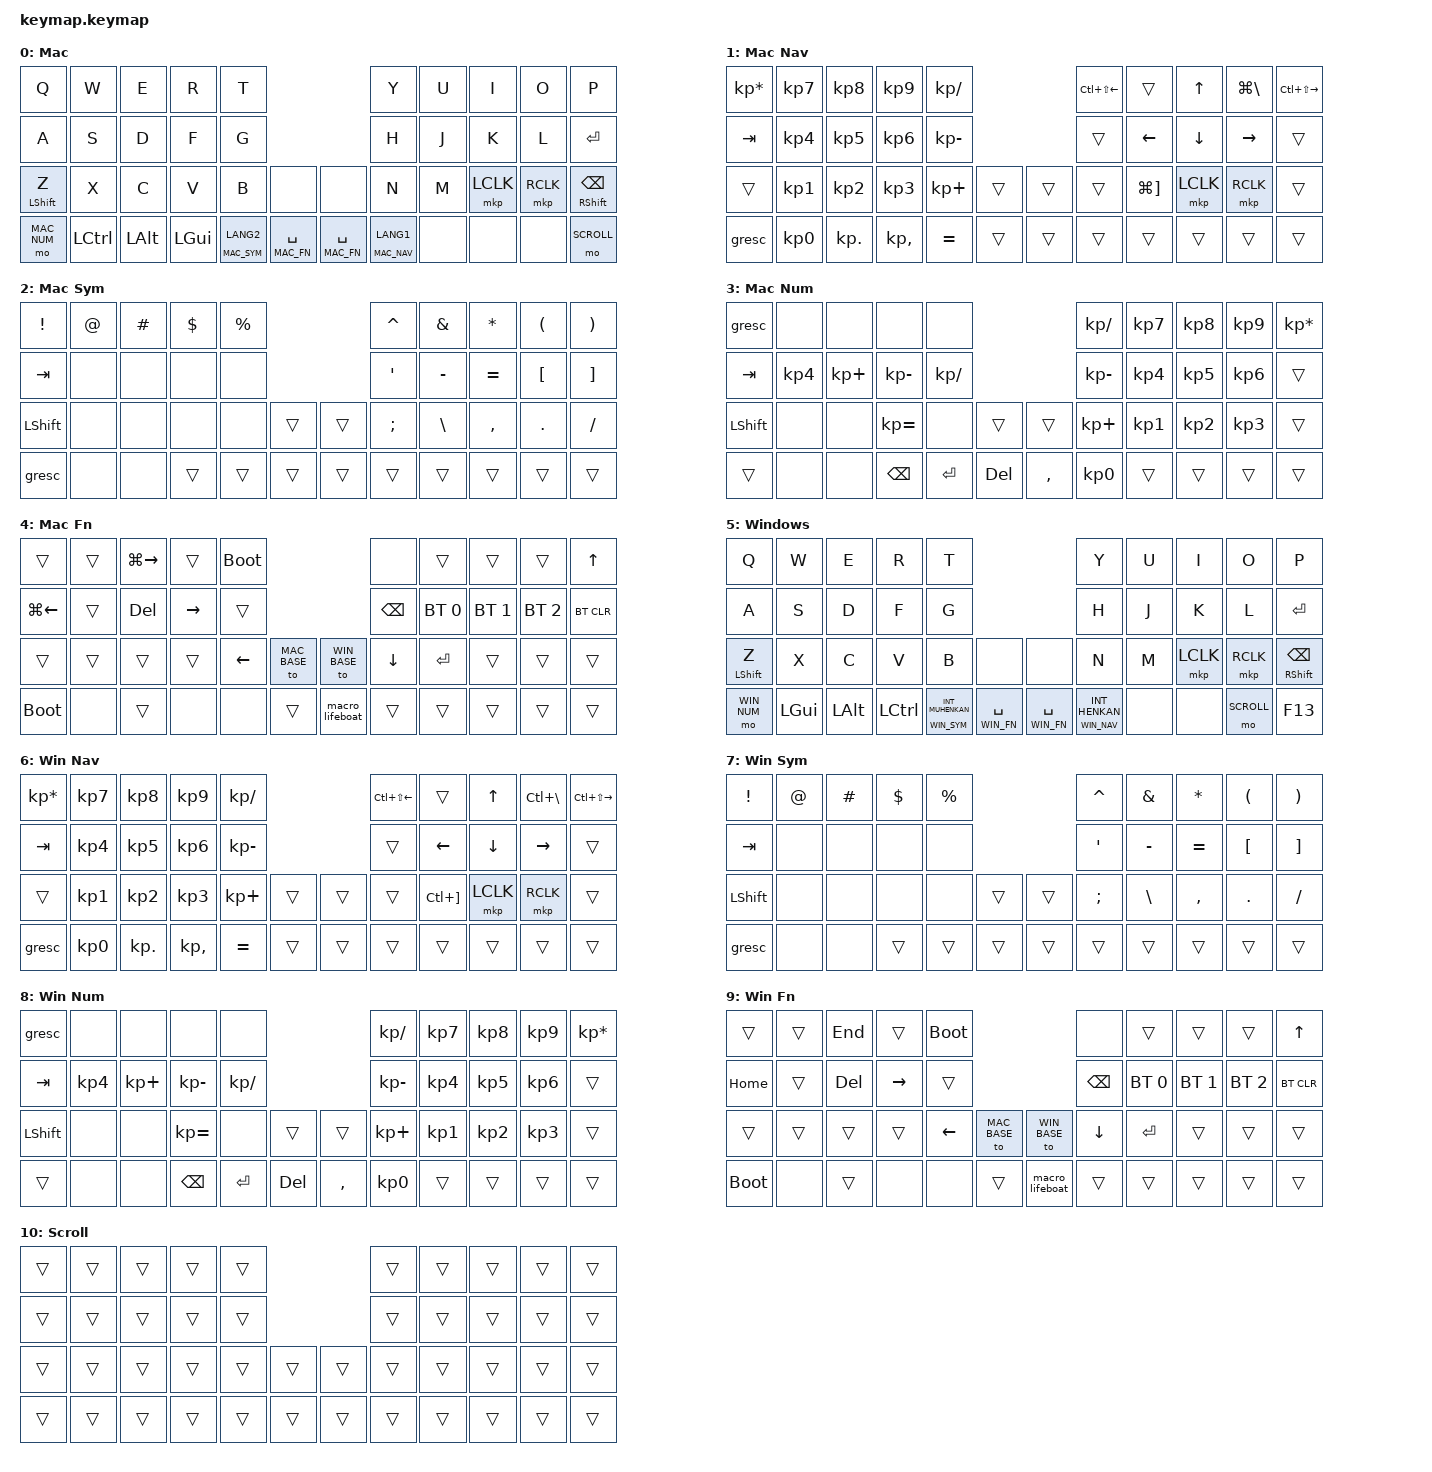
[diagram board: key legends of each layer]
#include <behaviors.dtsi>
#include <dt-bindings/zmk/bt.h>
#include <dt-bindings/zmk/keys.h>
#include <dt-bindings/zmk/pointing.h>

// Keyball39 のキーマップを Torabo-tsuki LP (S サイズ) に移植したもの。
// Mac 用 (0-4) と Windows 用 (5-9) を &to で排他的に切り替える。
// 切り替え: Space 長押し + 左内側キー = Mac / 右内側キー = Windows

#define MAC_BASE 0
#define MAC_NAV  1
#define MAC_SYM  2
#define MAC_NUM  3
#define MAC_FN   4
#define WIN_BASE 5
#define WIN_NAV  6
#define WIN_SYM  7
#define WIN_NUM  8
#define WIN_FN   9
#define SCROLL   10 // 右手側 overlay の scroller layers と揃えること

// QMK のデフォルトに近い判定 (TAPPING_TERM 200ms, 長押し優先にしない)
&mt {
    flavor = "tap-preferred";
    tapping-term-ms = <200>;
    quick-tap-ms = <200>;
};

&lt {
    tapping-term-ms = <200>;
    quick-tap-ms = <200>;
};

/ {
    chosen {
        zmk,physical-layout = &physical_layout_s;
    };

    // S レイアウトのキー位置
    //  0  1  2  3  4             5  6  7  8  9
    // 10 11 12 13 14            15 16 17 18 19
    // 20 21 22 23 24 25      26 27 28 29 30 31
    // 32 33 34 35 36 37      38 39 40 41 42 43

    macros {
        macro_lifeboat: macro_lifeboat {
            compatible = "zmk,behavior-macro";
            #binding-cells = <0>;
            bindings
                = <&macro_tap
                   &kp L &kp I &kp F &kp E &kp I &kp S &kp L &kp I &kp K &kp E
                   &kp A &kp B &kp O &kp A &kp T &kp EXCL &kp LS(A)>;
        };
    };

    combos {
        compatible = "zmk,combos";

        // LCLK (29) + RCLK (30) 同時押しでスクロールレイヤー
        combo_scroll {
            timeout-ms = <50>;
            key-positions = <29 30>;
            bindings = <&mo SCROLL>;
        };
    };

    keymap {
        compatible = "zmk,keymap";

        // ---------------- Mac ----------------

        mac_base {
            display-name = "Mac";
            bindings = <
&kp Q         &kp W      &kp E     &kp R     &kp T                                        &kp Y            &kp U           &kp I      &kp O      &kp P
&kp A         &kp S      &kp D     &kp F     &kp G                                        &kp H            &kp J           &kp K      &kp L      &kp ENTER
&mt LSHFT Z   &kp X      &kp C     &kp V     &kp B                 &none      &none       &kp N            &kp M           &mkp LCLK  &mkp RCLK  &mt RSHFT BSPC
&mo MAC_NUM   &kp LCTRL  &kp LALT  &kp LGUI  &lt MAC_SYM LANG2     &lt MAC_FN SPACE       &lt MAC_FN SPACE &lt MAC_NAV LANG1 &none   &none      &none      &mo SCROLL
            >;
        };

        mac_nav {
            display-name = "Mac Nav";
            bindings = <
&kp KP_MULTIPLY  &kp KP_N7  &kp KP_N8   &kp KP_N9     &kp KP_SLASH                            &kp LC(LS(LEFT))  &trans         &kp UP     &kp LG(BSLH)  &kp LC(LS(RIGHT))
&kp TAB          &kp KP_N4  &kp KP_N5   &kp KP_N6     &kp KP_MINUS                            &trans            &kp LEFT       &kp DOWN   &kp RIGHT     &trans
&trans           &kp KP_N1  &kp KP_N2   &kp KP_N3     &kp KP_PLUS    &trans      &trans       &trans            &kp LG(RBKT)   &mkp LCLK  &mkp RCLK     &trans
&gresc           &kp KP_N0  &kp KP_DOT  &kp KP_COMMA  &kp EQUAL      &trans      &trans       &trans            &trans         &trans     &trans        &trans
            >;
        };

        mac_sym {
            display-name = "Mac Sym";
            bindings = <
&kp EXCL   &kp AT  &kp HASH  &kp DLLR  &kp PRCNT                                &kp CARET  &kp AMPS   &kp STAR   &kp LPAR  &kp RPAR
&kp TAB    &none   &none     &none     &none                                    &kp SQT    &kp MINUS  &kp EQUAL  &kp LBKT  &kp RBKT
&kp LSHFT  &none   &none     &none     &none      &trans      &trans            &kp SEMI   &kp BSLH   &kp COMMA  &kp DOT   &kp FSLH
&gresc     &none   &none     &trans    &trans     &trans      &trans            &trans     &trans     &trans     &trans    &trans
            >;
        };

        mac_num {
            display-name = "Mac Num";
            bindings = <
&gresc     &none      &none        &none         &none                                  &kp KP_SLASH  &kp KP_N7  &kp KP_N8  &kp KP_N9  &kp KP_MULTIPLY
&kp TAB    &kp KP_N4  &kp KP_PLUS  &kp KP_MINUS  &kp KP_SLASH                           &kp KP_MINUS  &kp KP_N4  &kp KP_N5  &kp KP_N6  &trans
&kp LSHFT  &none      &none        &kp KP_EQUAL  &none         &trans      &trans       &kp KP_PLUS   &kp KP_N1  &kp KP_N2  &kp KP_N3  &trans
&trans     &none      &none        &kp BSPC      &kp ENTER     &kp DEL     &kp COMMA    &kp KP_N0     &trans     &trans     &trans     &trans
            >;
        };

        // Mac の Home/End は文書の先頭/末尾になるため、行頭/行末は Cmd+←/→
        mac_fn {
            display-name = "Mac Fn";
            bindings = <
&trans        &trans  &kp LG(RIGHT)  &trans     &bootloader                                   &none      &trans     &trans        &trans        &kp UP
&kp LG(LEFT)  &trans  &kp DEL        &kp RIGHT  &trans                                        &kp BSPC   &bt BT_SEL 0 &bt BT_SEL 1 &bt BT_SEL 2 &bt BT_CLR
&trans        &trans  &trans         &trans     &kp LEFT     &to MAC_BASE  &to WIN_BASE       &kp DOWN   &kp ENTER  &trans        &trans        &trans
&bootloader   &none   &trans         &none      &none        &trans        &macro_lifeboat    &trans     &trans     &trans        &trans        &trans
            >;
        };

        // ---------------- Windows ----------------
        // Mac との違い: Ctrl と Win の位置を入れ替え、Cmd 系ショートカットは Ctrl、
        // 英数/かなは 無変換/変換、右下は F13 (スクロールはその左隣)

        win_base {
            display-name = "Windows";
            bindings = <
&kp Q         &kp W      &kp E     &kp R      &kp T                                               &kp Y            &kp U                  &kp I      &kp O       &kp P
&kp A         &kp S      &kp D     &kp F      &kp G                                               &kp H            &kp J                  &kp K      &kp L       &kp ENTER
&mt LSHFT Z   &kp X      &kp C     &kp V      &kp B                        &none      &none       &kp N            &kp M                  &mkp LCLK  &mkp RCLK   &mt RSHFT BSPC
&mo WIN_NUM   &kp LGUI   &kp LALT  &kp LCTRL  &lt WIN_SYM INT_MUHENKAN     &lt WIN_FN SPACE       &lt WIN_FN SPACE &lt WIN_NAV INT_HENKAN &none      &none       &mo SCROLL  &kp F13
            >;
        };

        win_nav {
            display-name = "Win Nav";
            bindings = <
&kp KP_MULTIPLY  &kp KP_N7  &kp KP_N8   &kp KP_N9     &kp KP_SLASH                            &kp LC(LS(LEFT))  &trans         &kp UP     &kp LC(BSLH)  &kp LC(LS(RIGHT))
&kp TAB          &kp KP_N4  &kp KP_N5   &kp KP_N6     &kp KP_MINUS                            &trans            &kp LEFT       &kp DOWN   &kp RIGHT     &trans
&trans           &kp KP_N1  &kp KP_N2   &kp KP_N3     &kp KP_PLUS    &trans      &trans       &trans            &kp LC(RBKT)   &mkp LCLK  &mkp RCLK     &trans
&gresc           &kp KP_N0  &kp KP_DOT  &kp KP_COMMA  &kp EQUAL      &trans      &trans       &trans            &trans         &trans     &trans        &trans
            >;
        };

        win_sym {
            display-name = "Win Sym";
            bindings = <
&kp EXCL   &kp AT  &kp HASH  &kp DLLR  &kp PRCNT                                &kp CARET  &kp AMPS   &kp STAR   &kp LPAR  &kp RPAR
&kp TAB    &none   &none     &none     &none                                    &kp SQT    &kp MINUS  &kp EQUAL  &kp LBKT  &kp RBKT
&kp LSHFT  &none   &none     &none     &none      &trans      &trans            &kp SEMI   &kp BSLH   &kp COMMA  &kp DOT   &kp FSLH
&gresc     &none   &none     &trans    &trans     &trans      &trans            &trans     &trans     &trans     &trans    &trans
            >;
        };

        win_num {
            display-name = "Win Num";
            bindings = <
&gresc     &none      &none        &none         &none                                  &kp KP_SLASH  &kp KP_N7  &kp KP_N8  &kp KP_N9  &kp KP_MULTIPLY
&kp TAB    &kp KP_N4  &kp KP_PLUS  &kp KP_MINUS  &kp KP_SLASH                           &kp KP_MINUS  &kp KP_N4  &kp KP_N5  &kp KP_N6  &trans
&kp LSHFT  &none      &none        &kp KP_EQUAL  &none         &trans      &trans       &kp KP_PLUS   &kp KP_N1  &kp KP_N2  &kp KP_N3  &trans
&trans     &none      &none        &kp BSPC      &kp ENTER     &kp DEL     &kp COMMA    &kp KP_N0     &trans     &trans     &trans     &trans
            >;
        };

        win_fn {
            display-name = "Win Fn";
            bindings = <
&trans        &trans  &kp END        &trans     &bootloader                                   &none      &trans     &trans        &trans        &kp UP
&kp HOME      &trans  &kp DEL        &kp RIGHT  &trans                                        &kp BSPC   &bt BT_SEL 0 &bt BT_SEL 1 &bt BT_SEL 2 &bt BT_CLR
&trans        &trans  &trans         &trans     &kp LEFT     &to MAC_BASE  &to WIN_BASE       &kp DOWN   &kp ENTER  &trans        &trans        &trans
&bootloader   &none   &trans         &none      &none        &trans        &macro_lifeboat    &trans     &trans     &trans        &trans        &trans
            >;
        };

        // ---------------- 共通 ----------------

        // 押している間トラックボールがスクロールになる (Keyball の Kb 7)
        scroll {
            display-name = "Scroll";
            bindings = <
&trans  &trans  &trans  &trans  &trans                  &trans  &trans  &trans  &trans  &trans
&trans  &trans  &trans  &trans  &trans                  &trans  &trans  &trans  &trans  &trans
&trans  &trans  &trans  &trans  &trans  &trans  &trans  &trans  &trans  &trans  &trans  &trans
&trans  &trans  &trans  &trans  &trans  &trans  &trans  &trans  &trans  &trans  &trans  &trans
            >;
        };
    };
};
